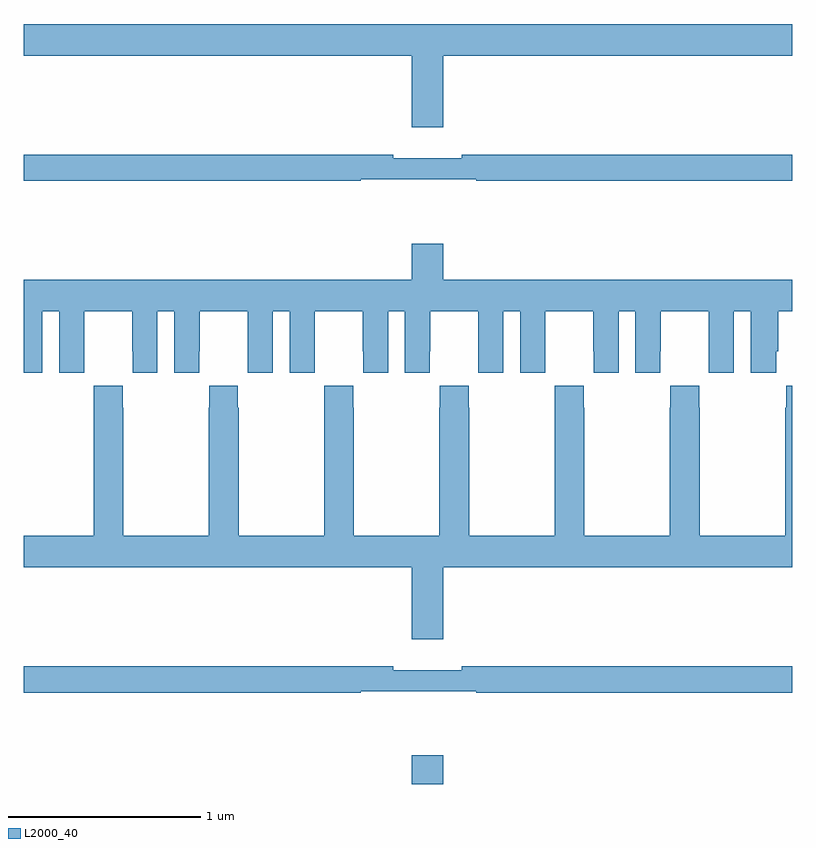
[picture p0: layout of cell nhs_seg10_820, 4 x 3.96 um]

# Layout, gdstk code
import gdstk
lib = gdstk.Library(unit=1e-6, precision=1e-09)
def R(c, l, rs):  # rectangles x0, y0, x1, y1
    for r in rs: c.add(gdstk.rectangle(r[:2], r[2:], *l))
def P(c, l, *ps):  # polygons
    for p in ps: c.add(gdstk.Polygon(p, *l))
L2000_40 = (2000, 40)

nhs_seg10_820 = lib.new_cell('nhs_seg10_820')
R(nhs_seg10_820, L2000_40, [(153.02,1320.5,153.184,1320.649)])
P(nhs_seg10_820, L2000_40, [(153.184,1324.292),(155,1324.292),(155,1324.456),(151,1324.456),(151,1324.292),(153.02,1324.292),(153.02,1323.918),(153.184,1323.918)],
  [(152.755,1323.648),(153.355,1323.648),(153.355,1323.64),(155,1323.64),(155,1323.776),(153.28,1323.776),(153.28,1323.757),(152.924,1323.757),(152.924,1323.776),(151,1323.776),(151,1323.64),(152.755,1323.64)],
  [(153.184,1323.313),(153.02,1323.313),(153.02,1323.124),(151,1323.124),(151,1322.64),(151.096,1322.64),(151.096,1322.96),(151.184,1322.96),(151.184,1322.64),(151.314,1322.64),(151.314,1322.752),(151.315,1322.752),(151.315,1322.96),(151.565,1322.96),(151.565,1322.752),(151.566,1322.752),(151.566,1322.64),(151.696,1322.64),(151.696,1322.96),(151.784,1322.96),(151.784,1322.64),(151.914,1322.64),(151.914,1322.752),(151.915,1322.752),(151.915,1322.96),(152.165,1322.96),(152.165,1322.752),(152.166,1322.752),(152.166,1322.64),(152.296,1322.64),(152.296,1322.96),(152.384,1322.96),(152.384,1322.64),(152.514,1322.64),(152.514,1322.752),(152.515,1322.752),(152.515,1322.96),(152.765,1322.96),(152.765,1322.752),(152.766,1322.752),(152.766,1322.64),(152.896,1322.64),(152.896,1322.96),(152.984,1322.96),(152.984,1322.64),(153.114,1322.64),(153.114,1322.752),(153.115,1322.752),(153.115,1322.96),(153.365,1322.96),(153.365,1322.752),(153.366,1322.752),(153.366,1322.64),(153.496,1322.64),(153.496,1322.96),(153.584,1322.96),(153.584,1322.64),(153.714,1322.64),(153.714,1322.752),(153.715,1322.752),(153.715,1322.96),(153.965,1322.96),(153.965,1322.752),(153.966,1322.752),(153.966,1322.64),(154.096,1322.64),(154.096,1322.96),(154.184,1322.96),(154.184,1322.64),(154.314,1322.64),(154.314,1322.752),(154.315,1322.752),(154.315,1322.96),(154.565,1322.96),(154.565,1322.752),(154.566,1322.752),(154.566,1322.64),(154.696,1322.64),(154.696,1322.96),(154.784,1322.96),(154.784,1322.64),(154.918,1322.64),(154.918,1322.752),(154.928,1322.752),(154.928,1322.96),(155,1322.96),(155,1323.124),(153.184,1323.124)],
  [(153.184,1321.628),(155,1321.628),(155,1322.572),(154.969,1322.572),(154.969,1322.459),(154.963,1322.459),(154.963,1321.792),(154.518,1321.792),(154.518,1322.459),(154.515,1322.459),(154.515,1322.572),(154.365,1322.572),(154.365,1322.459),(154.363,1322.459),(154.363,1321.792),(153.918,1321.792),(153.918,1322.459),(153.915,1322.459),(153.915,1322.572),(153.765,1322.572),(153.765,1322.459),(153.763,1322.459),(153.763,1321.792),(153.318,1321.792),(153.318,1322.459),(153.315,1322.459),(153.315,1322.572),(153.165,1322.572),(153.165,1322.459),(153.163,1322.459),(153.163,1321.792),(152.718,1321.792),(152.718,1322.459),(152.715,1322.459),(152.715,1322.572),(152.565,1322.572),(152.565,1322.459),(152.563,1322.459),(152.563,1321.792),(152.118,1321.792),(152.118,1322.459),(152.115,1322.459),(152.115,1322.572),(151.965,1322.572),(151.965,1322.459),(151.963,1322.459),(151.963,1321.792),(151.518,1321.792),(151.518,1322.459),(151.515,1322.459),(151.515,1322.572),(151.365,1322.572),(151.365,1322.459),(151.363,1322.459),(151.363,1321.792),(151,1321.792),(151,1321.628),(153.02,1321.628),(153.02,1321.254),(153.184,1321.254)],
  [(152.755,1320.984),(153.355,1320.984),(153.355,1320.976),(155,1320.976),(155,1321.112),(153.28,1321.112),(153.28,1321.093),(152.924,1321.093),(152.924,1321.112),(151,1321.112),(151,1320.976),(152.755,1320.976)])

lib.write_gds('nhs_seg10_820.gds')
